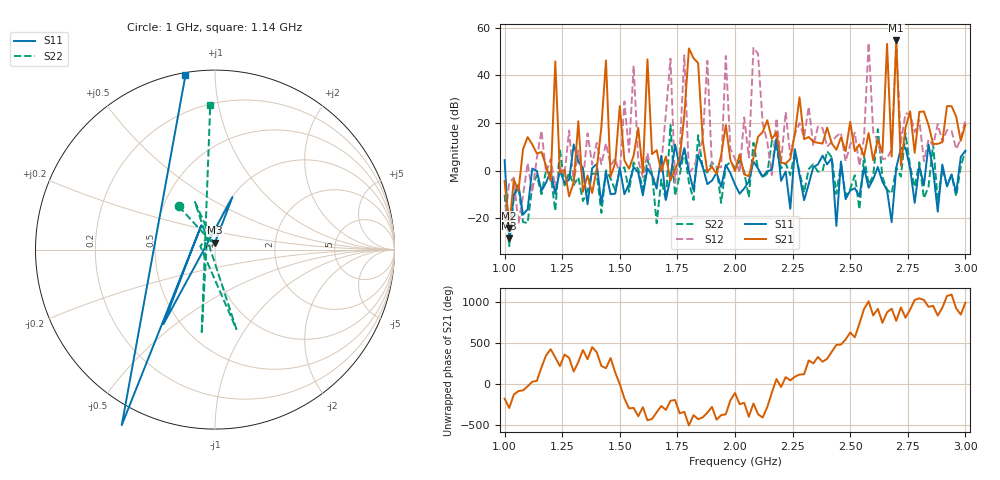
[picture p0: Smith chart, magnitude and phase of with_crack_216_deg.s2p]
# MHz S MA R 50
!  freq  S11  S21  S12  S22
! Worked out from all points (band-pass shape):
!   101 points, 1 GHz to 3 GHz, reference 50 ohm
!   highest |S21| = 54.63 dB at 2.7 GHz (marker M1); lowest = -24.1 dB at 1.02 GHz (marker M2)
!   |S21| within 3 dB of the highest: 2.659305 GHz to 2.660672 GHz (1.366 MHz wide, 0.0514 % of centre); 2.698767 GHz to 2.701145 GHz (2.378 MHz wide, 0.0881 % of centre)
!   lowest |S11| = -28.4 dB at 1.02 GHz (marker M3), VSWR 1.08, Z = 49.9 + j3.81 ohm
!   |S11| at or under -10 dB: 1.009 GHz to 1.041 GHz (32.24 MHz wide, 3.15 % of centre); 1.067 GHz to 1.107 GHz (40.72 MHz wide, 3.75 % of centre); 1.355 GHz to 1.365 GHz (10.76 MHz wide, 0.791 % of centre) (the widest 3 of 14)
!   |S22| runs from -31.6 to 19.2 dB; largest |S21 - S12| = 4.8e+02
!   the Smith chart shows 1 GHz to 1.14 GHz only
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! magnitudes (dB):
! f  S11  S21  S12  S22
! 1 GHz  4.4  -4.3  -21.2  -10.1
! 1.02 GHz  -28.4  -24.1  -5.1  -31.6
! 1.2 GHz  -0.2  -4.3  4.8  -1.8
! 1.22 GHz  -9.7  45.8  -6.9  -16.8
! 1.34 GHz  1.1  -8.9  -4.6  -12.7
! 1.44 GHz  -0.6  46.2  11.5  0.2
! 1.46 GHz  -9.9  -2.5  2.2  -3.3
! 1.62 GHz  1.0  46.7  7.4  4.5
! 1.68 GHz  6.3  -0.3  2.5  -3.7
! 1.78 GHz  9.5  23.2  48.4  8.5
! 1.8 GHz  -0.3  51.3  -0.9  -4.9
! 1.88 GHz  -5.6  -0.4  46.1  -0.8
! 2 GHz  -5.8  -0.1  5.1  1.3
! 2.08 GHz  3.8  5.5  51.5  11.7
! 2.34 GHz  1.6  12.1  10.4  2.7
! 2.54 GHz  -10.8  11.1  2.1  -16.2
! 2.58 GHz  -7.1  15.8  53.6  -5.9
! 2.66 GHz  -8.1  53.2  5.2  -8.0
! 2.68 GHz  -21.5  6.0  8.9  -9.5
! 2.7 GHz  1.2  54.6  54.2  1.2
! 2.72 GHz  9.5  2.2  11.7  -2.4
! 3 GHz  8.4  19.3  21.3  8.5
